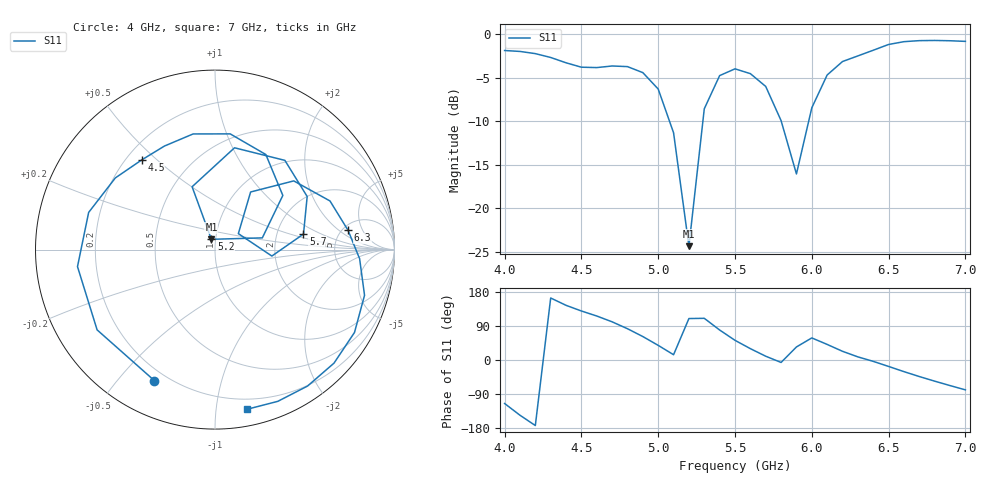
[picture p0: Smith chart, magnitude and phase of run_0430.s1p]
! Touchstone file exported from HFSS 2024.2.0
!  File:  C:/Users/wsak9/Desktop/Sim Fast/Widenad Patch/WP_AI_V1_sweep.aedt
!  Generated:  09:38:32 AM Oct 14, 2026
!  Design:  A1_model
!  Project:  WP_AI_V1_sweep
!  Setup:  Setup1
!  Solution:  Sweep
! Variables:
!  Air_gap = 2.23mm
!  Curve_Amp1 = 3.78
!  Curve_len1 = 1
!  Curve_pos = 11.33mm
!  Extra = 2.97mm
!  H_sub = 0.79mm
!  L_Patch = 18.66mm
!  L_Patch1 = 19.64mm
!  Sx = 2.22mm
!  Sy = 1.8mm
!  WS = 1.42mm
!  W_Patch = 12.78mm
!  W_Patch1 = 16.67mm
!Data is not renormalized
# GHz S MA
! Terminal data exported
! Port[1] = 1
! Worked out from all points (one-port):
!   31 points, 4 GHz to 7 GHz, reference per port
!   lowest |S11| = -24.3 dB at 5.2 GHz (marker M1), VSWR 1.13
!   |S11| at or under -10 dB: 5.074 GHz to 5.291 GHz (217.3 MHz wide, 4.19 % of centre); 5.801 GHz to 5.98 GHz (178.6 MHz wide, 3.03 % of centre)
!   S11 on the Smith chart (normalised r, x): 4 GHz: 0.15, -0.63; 4.5 GHz: 0.26, +0.45; 5.2 GHz: 0.95, +0.11; 5.7 GHz: 2.83, +0.65; 6.3 GHz: 5.60, +2.74; 7 GHz: 0.12, -1.21
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4  0.8044 -114.8
4.1  0.7946 -145.7
4.2  0.772 -172.9
4.3  0.7338 163.6
4.4  0.6839 144.3
4.5  0.6453 129.3
4.7  0.6558 100.7
4.8  0.6503 82.5
4.9  0.6007 61.9
5  0.4837 38.6
5.1  0.2716 13.9
5.2  0.06076 109.4
5.3  0.3726 110.0
5.4  0.5775 79.1
5.5  0.6315 51.9
5.6  0.5927 29.9
5.7  0.5006 10.0
5.8  0.3188 -6.5
5.9  0.1577 34.4
6  0.3774 58.3
6.1  0.5822 41.1
6.2  0.6956 22.9
6.3  0.7491 8.2
6.5  0.8712 -17.0
6.6  0.904 -30.7
6.7  0.9164 -43.6
6.8  0.9186 -55.8
7  0.9075 -78.8
